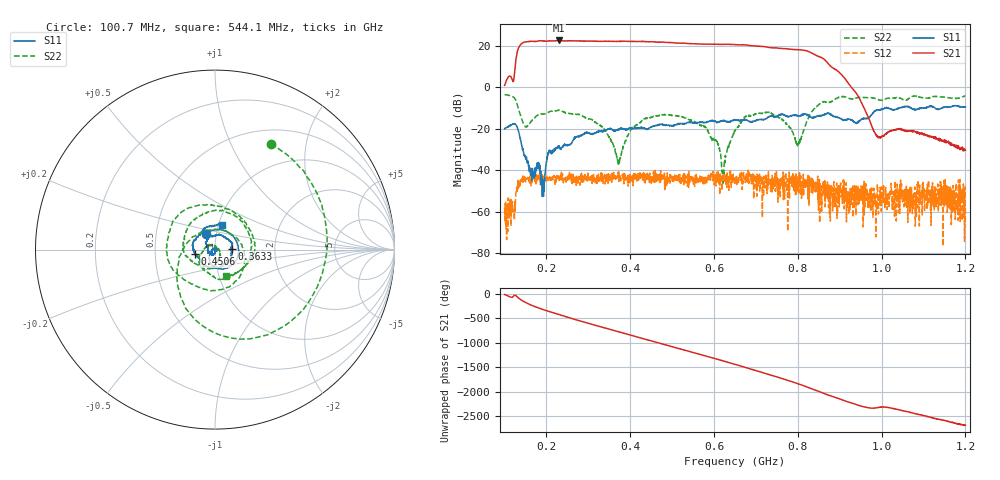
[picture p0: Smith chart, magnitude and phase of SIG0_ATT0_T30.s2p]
# Hz S DB R 50
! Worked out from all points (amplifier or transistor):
!   1601 points, 100 MHz to 1.2 GHz, reference 50 ohm
!   highest |S21| = 22.6 dB at 229.2 MHz (marker M1)
!   |S21| within 3 dB of that: 134.7 MHz to 720.6 MHz (585.9 MHz wide, 137 % of centre)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
!   unconditionally stable (mu >= 1): start of sweep to end of sweep
!   at 282.9 MHz: K = 7.37, MAG = 22.6 dB, |S12| = -46.1 dB
!   at 650 MHz: K = 9.18, MAG = 20.7 dB, |S12| = -46.1 dB
!   at 1.2 GHz: K = 18599.57, MAG = -27.6 dB, |S12| = -66.5 dB
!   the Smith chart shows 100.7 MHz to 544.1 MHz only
!   S11 on the Smith chart (normalised r, x): 100.7 MHz: 0.89, +0.16; 363.3 MHz: 1.21, +0.01; 450.6 MHz: 0.80, -0.04; 544.1 MHz: 1.04, +0.29
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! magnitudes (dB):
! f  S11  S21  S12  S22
! 100 MHz  -20.0  0.9  -58.0  -3.5
! 100.7 MHz  -19.8  1.3  -63.8  -3.5
! 139.2 MHz  -26.2  20.8  -44.8  -14.3
! 190.8 MHz  -44.2  22.4  -43.1  -12.9
! 205.2 MHz  -31.0  22.3  -43.6  -12.0
! 229.2 MHz  -29.2  22.6  -42.6  -11.0
! 283.6 MHz  -22.9  22.3  -41.3  -13.7
! 363.3 MHz  -20.5  22.1  -42.4  -29.5
! 450.6 MHz  -18.9  22.0  -43.1  -14.5
! 467.1 MHz  -18.3  21.8  -42.2  -13.7
! 544.1 MHz  -17.0  21.0  -44.2  -15.9
! 606 MHz  -16.8  20.7  -45.8  -25.7
! 621.8 MHz  -15.9  20.7  -43.3  -46.9
! 650 MHz  -15.7  20.6  -46.1  -20.8
! 731.1 MHz  -14.2  19.2  -45.7  -11.9
! 801.2 MHz  -13.8  18.1  -43.2  -26.4
! 833.6 MHz  -14.7  16.5  -44.0  -11.6
! 912.6 MHz  -15.9  4.2  -49.2  -4.6
! 988.9 MHz  -11.0  -23.6  -56.3  -5.7
! 1.017 GHz  -10.2  -21.4  -58.2  -5.1
! 1.192 GHz  -9.5  -29.2  -62.3  -4.8
! 1.2 GHz  -9.4  -30.3  -66.5  -4.1
